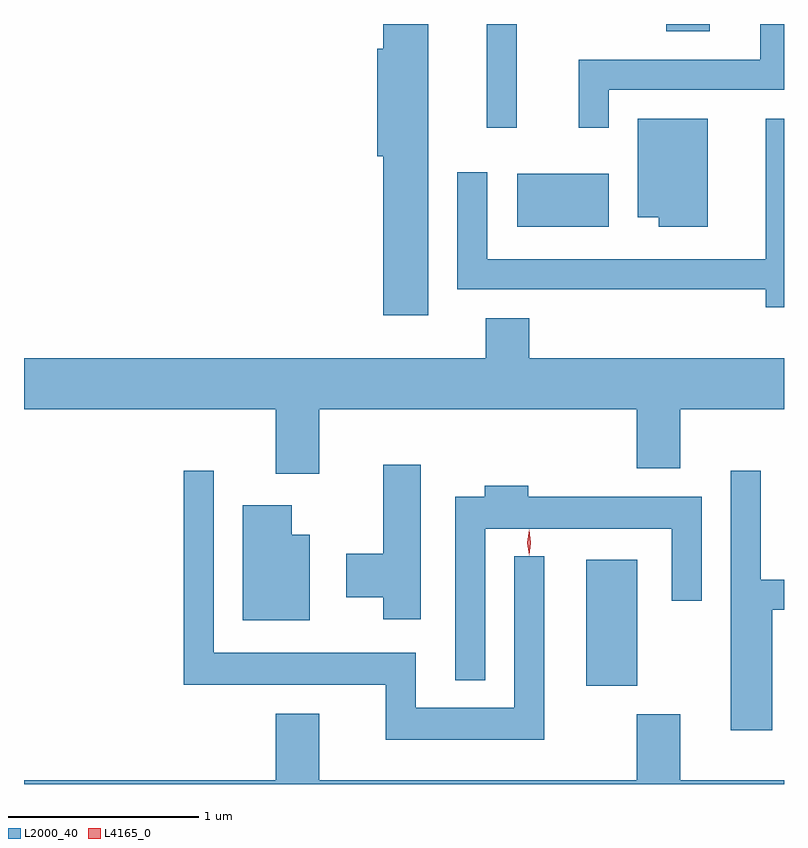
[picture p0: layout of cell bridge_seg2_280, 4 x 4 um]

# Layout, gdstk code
import gdstk
lib = gdstk.Library(unit=1e-6, precision=1e-09)
def R(c, l, rs):  # rectangles x0, y0, x1, y1
    for r in rs: c.add(gdstk.rectangle(r[:2], r[2:], *l))
def P(c, l, *ps):  # polygons
    for p in ps: c.add(gdstk.Polygon(p, *l))
L2000_40 = (2000, 40)
L4165_0 = (4165, 0)

bridge_seg2_280 = lib.new_cell('bridge_seg2_280')
R(bridge_seg2_280, L2000_40, [(550.846,1111.241,551.114,1111.904), (550.481,1113.656,550.964,1113.934), (550.321,1114.178,550.479,1114.723), (551.266,1114.686,551.494,1114.723)])
P(bridge_seg2_280, L2000_40, [(550.964,1114.376),(551.886,1114.376),(551.886,1114.723),(551.761,1114.723),(551.761,1114.534),(550.806,1114.534),(550.806,1114.178),(550.964,1114.178)],
  [(550.014,1114.723),(549.776,1114.723),(549.776,1114.594),(549.746,1114.594),(549.746,1114.026),(549.776,1114.026),(549.776,1113.191),(550.014,1113.191)],
  [(551.484,1114.224),(551.116,1114.224),(551.116,1113.706),(551.226,1113.706),(551.226,1113.656),(551.484,1113.656)],
  [(551.886,1114.224),(551.791,1114.224),(551.791,1113.484),(550.324,1113.484),(550.324,1113.943),(550.166,1113.943),(550.166,1113.326),(551.791,1113.326),(551.791,1113.233),(551.886,1113.233)],
  [(549.439,1112.696),(551.111,1112.696),(551.111,1112.386),(551.339,1112.386),(551.339,1112.696),(551.886,1112.696),(551.886,1112.964),(550.544,1112.964),(550.544,1113.174),(550.316,1113.174),(550.316,1112.964),(547.886,1112.964),(547.886,1112.696),(549.211,1112.696),(549.211,1112.356),(549.439,1112.356)],
  [(549.974,1112.404),(549.776,1112.404),(549.776,1111.934),(549.581,1111.934),(549.581,1111.706),(549.776,1111.706),(549.776,1111.591),(549.974,1111.591)],
  [(550.624,1111.923),(550.466,1111.923),(550.466,1111.124),(549.949,1111.124),(549.949,1111.414),(548.884,1111.414),(548.884,1112.373),(548.726,1112.373),(548.726,1111.246),(549.791,1111.246),(549.791,1110.956),(550.624,1110.956)],
  [(551.824,1111.641),(551.886,1111.641),(551.886,1111.799),(551.764,1111.799),(551.764,1112.373),(551.606,1112.373),(551.606,1111.006),(551.824,1111.006)],
  [(550.314,1112.066),(551.296,1112.066),(551.296,1111.688),(551.454,1111.688),(551.454,1112.234),(550.539,1112.234),(550.539,1112.294),(550.311,1112.294),(550.311,1112.234),(550.156,1112.234),(550.156,1111.268),(550.314,1111.268)],
  [(549.389,1112.034),(549.294,1112.034),(549.294,1112.189),(549.036,1112.189),(549.036,1111.586),(549.389,1111.586)],
  [(551.886,1110.744),(551.339,1110.744),(551.339,1111.089),(551.111,1111.089),(551.111,1110.744),(549.439,1110.744),(549.439,1111.094),(549.211,1111.094),(549.211,1110.744),(547.886,1110.744),(547.886,1110.723),(551.886,1110.723)])
P(bridge_seg2_280, L4165_0, [(550.544,1111.927),(550.534,1111.994),(550.544,1112.06),(550.544,1112.06),(550.545,1112.06),(550.554,1111.994),(550.545,1111.927),(550.545,1111.927)])

lib.write_gds('bridge_seg2_280.gds')
